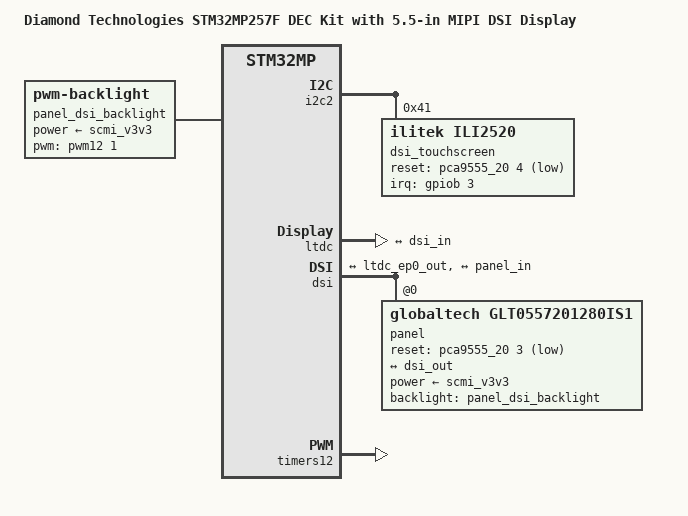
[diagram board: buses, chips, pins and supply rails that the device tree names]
// SPDX-License-Identifier: (GPL-2.0-only OR BSD-3-Clause)
/*
 * Copyright (C) 2026 Diamond Technologies
 *
 * Diamond Technologies STM32MP257F DEC Kit with 5.5" MIPI DSI Display
 * (Globaltech GLT0557201280IS1, Ilitek ILI9881C controller,
 *  Ilitek ILI2520 capacitive touch)
 */

/dts-v1/;

#include <dt-bindings/interrupt-controller/irq.h>
#include <dt-bindings/pwm/pwm.h>
#include "stm32mp-dec-kit.dts"

/ {
	model = "Diamond Technologies STM32MP257F DEC Kit with 5.5-in MIPI DSI Display";

	panel_dsi_backlight: panel-dsi-backlight {
		compatible = "pwm-backlight";
		pwms = <&pwm12 1 1000000 0>;
		brightness-levels = <0 100>;
		num-interpolated-steps = <100>;
		default-brightness-level = <80>;
		power-supply = <&scmi_v3v3>;
		status = "okay";
	};
};

&i2c2 {
	dsi_touchscreen@41 {
		compatible = "ilitek,ili2520";
		reg = <0x41>;
		pinctrl-names = "default";
		pinctrl-0 = <&pinctrl_dsi_touchscreen>;
		reset-gpios = <&pca9555_20 4 GPIO_ACTIVE_LOW>;
		interrupt-parent = <&gpiob>;
		interrupts = <3 IRQ_TYPE_LEVEL_LOW>;
		touchscreen-swapped-x-y;
		touchscreen-inverted-x;
		wakeup-source;
	};
};

&ltdc {
	default-on;
	rotation-memory = <&ltdc_sec_rotation>;
	status = "okay";

	port {
		#address-cells = <1>;
		#size-cells = <0>;

		ltdc_ep0_out: endpoint@0 {
			reg = <0>;
			remote-endpoint = <&dsi_in>;
		};
	};
};

&dsi {
	vdd-supply = <&scmi_vddcore>;
	vdda18-supply = <&scmi_v1v8>;
	status = "okay";

	#address-cells = <1>;
	#size-cells = <0>;

	ports {
		#address-cells = <1>;
		#size-cells = <0>;

		port@0 {
			reg = <0>;
			dsi_in: endpoint {
				remote-endpoint = <&ltdc_ep0_out>;
			};
		};

		port@1 {
			reg = <1>;
			dsi_out: endpoint {
				data-lanes = <1 2 3 4>;
				remote-endpoint = <&panel_in>;
			};
		};
	};

	panel@0 {
		compatible = "globaltech,glt0557201280is1", "ilitek,ili9881c";
		reg = <0>;
		reset-gpios = <&pca9555_20 3 GPIO_ACTIVE_LOW>;
		backlight = <&panel_dsi_backlight>;
		power-supply = <&scmi_v3v3>;
		status = "okay";

		port {
			panel_in: endpoint {
				data-lanes = <1 2 3 4>;
				remote-endpoint = <&dsi_out>;
			};
		};
	};
};

&timers12 {
	/delete-property/pinctrl-names;
	/delete-property/pinctrl-0;
	/delete-property/pinctrl-1;
	/delete-property/dmas;
	/delete-property/dma-names;
	status = "okay";

	pwm12: pwm {
		pinctrl-names = "default", "sleep";
		pinctrl-0 = <&tim12_pwm_pins_mx>;
		pinctrl-1 = <&tim12_pwm_sleep_pins_mx>;
		status = "okay";
	};
};

&pinctrl {
	pinctrl_dsi_touchscreen: pinctrl_dsi_touchscreen-0 {
		pins {
			pinmux = <STM32_PINMUX('B', 3, GPIO)>; /* DSICT_nINT */
		};
	};

	tim12_pwm_pins_mx: tim12_pwm_mx-0 {
		pins {
			pinmux = <STM32_PINMUX('F', 8, AF9)>; /* TIM12_CH2 */
			bias-disable;
			drive-push-pull;
			slew-rate = <0>;
		};
	};

	tim12_pwm_sleep_pins_mx: tim12_pwm_sleep_mx-0 {
		pins {
			pinmux = <STM32_PINMUX('F', 8, ANALOG)>;
		};
	};
};
